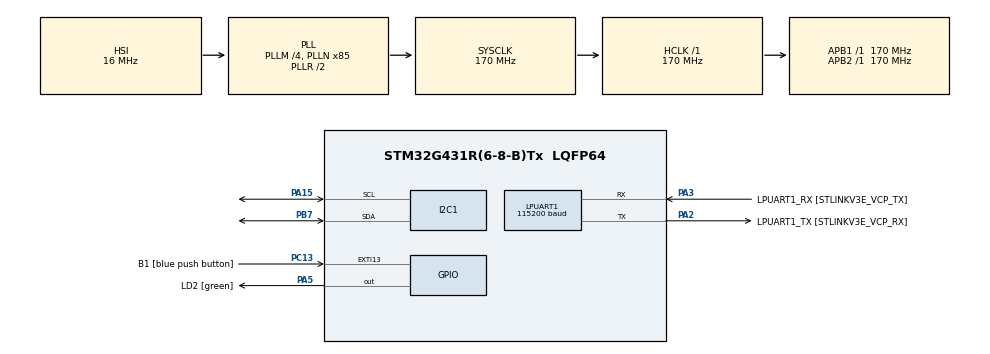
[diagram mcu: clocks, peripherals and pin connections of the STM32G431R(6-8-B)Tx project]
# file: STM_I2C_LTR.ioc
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I2C1.I2C_Fall_Time=300
I2C1.I2C_Rise_Time=300
I2C1.Timing=0x50F76F96
LPUART1.BaudRate=115200
LPUART1.WordLength=UART_WORDLENGTH_8B
Mcu.Family=STM32G4
Mcu.Name=STM32G431R(6-8-B)Tx
Mcu.Package=LQFP64
NVIC.PriorityGroup=NVIC_PRIORITYGROUP_4
PA15.Mode=I2C
PA15.Signal=I2C1_SCL
PA2.GPIO_Label=LPUART1_TX [STLINKV3E_VCP_RX]
PA2.Mode=Asynchronous
PA2.Signal=LPUART1_TX
PA3.GPIO_Label=LPUART1_RX [STLINKV3E_VCP_TX]
PA3.Mode=Asynchronous
PA3.Signal=LPUART1_RX
PA5.GPIO_Label=LD2 [green]
PA5.Signal=GPIO_Output
PB3.GPIO_Label=T_SWO
PB3.Signal=SYS_JTDO-SWO
PB7.Mode=I2C
PB7.Signal=I2C1_SDA
PC13.GPIO_Label=B1 [blue push button]
PC13.Signal=GPXTI13
PC14-OSC32_IN.Mode=LSE-External-Oscillator
PC14-OSC32_IN.Signal=RCC_OSC32_IN
PC15-OSC32_OUT.Mode=LSE-External-Oscillator
PC15-OSC32_OUT.Signal=RCC_OSC32_OUT
PF0-OSC_IN.Mode=HSE-External-Oscillator
PF0-OSC_IN.Signal=RCC_OSC_IN
PF1-OSC_OUT.Mode=HSE-External-Oscillator
PF1-OSC_OUT.Signal=RCC_OSC_OUT
ProjectManager.HeapSize=0x200
ProjectManager.StackSize=0x400
ProjectManager.TargetToolchain=MDK-ARM V5.27
RCC.ADC12Freq_Value=170000000
RCC.AHBFreq_Value=170000000
RCC.APB1Freq_Value=170000000
RCC.APB1TimFreq_Value=170000000
RCC.APB2Freq_Value=170000000
RCC.APB2TimFreq_Value=170000000
RCC.CortexFreq_Value=170000000
RCC.EXTERNAL_CLOCK_VALUE=12288000
RCC.HCLKFreq_Value=170000000
RCC.HSE_VALUE=24000000
RCC.HSI48_VALUE=48000000
RCC.HSI_VALUE=16000000
RCC.PLLM=RCC_PLLM_DIV4
RCC.PLLN=85
RCC.RTCClockSelection=RCC_RTCCLKSOURCE_LSE
RCC.SYSCLKFreq_VALUE=170000000
RCC.SYSCLKSource=RCC_SYSCLKSOURCE_PLLCLK
RCC.USBFreq_Value=170000000
RCC.VCOOutputFreq_Value=340000000
VP_RTC_VS_RTC_Activate.Mode=RTC_Enabled
VP_SYS_VS_DBSignals.Mode=DisableDeadBatterySignals
board=NUCLEO-G431RB

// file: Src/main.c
/* USER CODE BEGIN Header */
/**
  ******************************************************************************
  * @file           : main.c
  * @brief          : Main program body
  ******************************************************************************
  * @attention
  *
  * <h2><center>&copy; Copyright (c) 2020 STMicroelectronics.
  * All rights reserved.</center></h2>
  *
  * This software component is licensed by ST under BSD 3-Clause license,
  * the "License"; You may not use this file except in compliance with the
  * License. You may obtain a copy of the License at:
  *                        opensource.org/licenses/BSD-3-Clause
  *
  ******************************************************************************
  */
/* USER CODE END Header */
#include "main.h"
#include "i2c.h"
#include "usart.h"
#include "rtc.h"
#include "gpio.h"

/* USER CODE BEGIN Includes */
#include <stdarg.h>
#include <string.h>
/* USER CODE END Includes */

/* USER CODE BEGIN PD */
#define WriteAddr		0x52
#define ReadAddr		0x53

#define ALS_CONTR 			0x80
#define ALS_MEAS_RATE		0x85
#define PART_ID 				0x86
#define MANUFAC_ID			0x87
#define ALS_DATA_CH1_0 	0x88
#define ALS_DATA_CH1_1	0x89
#define ALS_DATA_CH0_0 	0x8A
#define ALS_DATA_CH0_1	0x8B
#define ALS_STATUS 			0x8C

/* USER CODE END PD */

void SystemClock_Config(void);

/* USER CODE BEGIN 0 */
void vprint(const char *fmt,va_list argp){
	char string[200];
	if(0<vsprintf(string,fmt,argp)){

		HAL_UART_Transmit(&hlpuart1,(uint8_t*)string,strlen(string),0xFFFFFF);

	}
}
void debug_printf(const char *fmt, ...){
	va_list argp;
	va_start(argp,fmt);
	vprint(fmt,argp);
	va_end(argp);

}
/* USER CODE END 0 */

int main(void)
{
  /* USER CODE BEGIN 1 */
	uint8_t Wbuffer[6]={0},Rbuffer[6]={0},Part_ID,Manuf_ID,Gain,Int_Time;
	uint16_t Ch1_data,Ch0_data;
	float ratio,Lux_value,Int_Factor;
  /* USER CODE END 1 */

  /* MCU Configuration--------------------------------------------------------*/

  /* Reset of all peripherals, Initializes the Flash interface and the Systick. */
  HAL_Init();

  /* Configure the system clock */
  SystemClock_Config();

  /* Initialize all configured peripherals */
  MX_GPIO_Init();
  MX_LPUART1_UART_Init();
  MX_I2C1_Init();
  MX_RTC_Init();
  /* USER CODE BEGIN 2 */

		if(HAL_I2C_IsDeviceReady(&hi2c1,0x52,5,100)==HAL_OK){			//check if sensor is responding back
		HAL_GPIO_WritePin(LD2_GPIO_Port,LD2_Pin,GPIO_PIN_SET);
		HAL_Delay(500);
			HAL_GPIO_WritePin(LD2_GPIO_Port,LD2_Pin,GPIO_PIN_RESET);
		HAL_Delay(500);
			HAL_GPIO_WritePin(LD2_GPIO_Port,LD2_Pin,GPIO_PIN_SET);
		HAL_Delay(500);
			HAL_GPIO_WritePin(LD2_GPIO_Port,LD2_Pin,GPIO_PIN_RESET);
		}

		HAL_Delay(100);							//startup time of 100ms
		Wbuffer[0]=ALS_CONTR;
		Wbuffer[1]=0x09;  //00000001		//0000 1001

		//HAL_I2C_Mem_Write(&hi2c1,WriteAddr,ALS_CONTR,1,&Wbuffer[1],1,100);

		HAL_I2C_Master_Transmit(&hi2c1,WriteAddr,Wbuffer,2,100);		//Set the sensor to active mode
		memset(Wbuffer,0,6);

		HAL_Delay(10);						//Wakeup time form standby mode

		Wbuffer[0]=ALS_CONTR;

		//HAL_I2C_Mem_Read(&hi2c1,ReadAddr,ALS_CONTR,1,Rbuffer,1,100);

		HAL_I2C_Master_Transmit(&hi2c1,WriteAddr,Wbuffer,1,100);		//Read the gain value
		HAL_I2C_Master_Receive(&hi2c1,ReadAddr,Rbuffer,1,100);

		Gain = (Rbuffer[0]>>2)&0x07; // 00000111	00000100  :  00000011 :00000011
		//0010100 >>2		00100101 00000111		00000101
		switch(Gain)
		{
			case 0: Gain = 1;  break;
			case 1: Gain = 2;  break;
			case 2: Gain = 4;  break;
			case 3: Gain = 8;  break;
			case 6: Gain = 48;  break;
			case 7: Gain = 96;  break;
		}
		debug_printf("\n\rGain:%d",Gain);

		memset(Wbuffer,0,6);
		memset(Rbuffer,0,6);

		Wbuffer[0] = PART_ID;
		HAL_I2C_Master_Transmit(&hi2c1,WriteAddr,Wbuffer,1,100);		//Read the part ID
		HAL_I2C_Master_Receive(&hi2c1,ReadAddr,Rbuffer,1,100);

		Part_ID = (Rbuffer[0]>>4)&0x0F;
		debug_printf("\n\rPart_ID:%d",Part_ID);

		memset(Wbuffer,0,6);
		memset(Rbuffer,0,6);

		Wbuffer[0] = MANUFAC_ID;
		HAL_I2C_Master_Transmit(&hi2c1,WriteAddr,Wbuffer,1,100);		//Read the manufacture ID
		HAL_I2C_Master_Receive(&hi2c1,ReadAddr,Rbuffer,1,100);

		Manuf_ID = Rbuffer[0];
		debug_printf("\n\rManuf_ID:%d",Manuf_ID);

		memset(Wbuffer,0,6);
		memset(Rbuffer,0,6);

		Wbuffer[0]=ALS_MEAS_RATE;
		HAL_I2C_Master_Transmit(&hi2c1,WriteAddr,Wbuffer,1,100);		//Read the integration time
		HAL_I2C_Master_Receive(&hi2c1,ReadAddr,Rbuffer,1,100);

		Int_Time = (Rbuffer[0]>>3)&0x07;
		switch(Int_Time)
		{
			case 0: Int_Factor = 1;  break;
			case 1: Int_Factor = 0.5;  break;
			case 2: Int_Factor = 2;  break;
			case 3: Int_Factor = 4;  break;
			case 4: Int_Factor = 1.5;  break;
			case 5: Int_Factor = 2.5;  break;
			case 6: Int_Factor = 3;  break;
			case 7: Int_Factor = 3.5;  break;
		}
		debug_printf("\n\rInt_Factor:%f",Int_Factor);

		memset(Wbuffer,0,6);
		memset(Rbuffer,0,6);

  /* USER CODE END 2 */

  /* Infinite loop */
  /* USER CODE BEGIN WHILE */
  while (1)
  {

		Wbuffer[0]=ALS_DATA_CH1_0;
		HAL_I2C_Master_Transmit(&hi2c1,0x52,Wbuffer,1,100);			//Read Data_Reg
		HAL_I2C_Master_Receive(&hi2c1,0x53,&Rbuffer[0],4,100);

		Ch1_data = (Rbuffer[1]<<8)+(Rbuffer[0]);
		Ch0_data = (Rbuffer[3]<<8)+(Rbuffer[2]);

		ratio = Ch1_data/(Ch1_data+Ch0_data);
		//conversion of raw data to lux values as giver in Appendix A of LTR-329ALS-01
		if(ratio<0.45)
			Lux_value = ((1.7743*Ch0_data)+(1.1059*Ch1_data))/Gain/Int_Factor;
		else if(ratio<0.64&&ratio>=0.45)
			Lux_value = ((4.2785*Ch0_data)-(1.9548*Ch1_data))/Gain/Int_Factor;
		else if(ratio<0.85&&ratio>=0.64)
			Lux_value = ((0.5926*Ch0_data)+(0.1185*Ch1_data))/Gain/Int_Factor;
		 else
			Lux_value = 0;

		debug_printf("\n\rLux Value(in LUX):%f",Lux_value);

		HAL_Delay(2000);		//Delay of 2 seconds between 2 measurements

    /* USER CODE END WHILE */

  }
}

void SystemClock_Config(void)
{
  RCC_OscInitTypeDef RCC_OscInitStruct = {0};
  RCC_ClkInitTypeDef RCC_ClkInitStruct = {0};
  RCC_PeriphCLKInitTypeDef PeriphClkInit = {0};

  /** Configure the main internal regulator output voltage
  */
  HAL_PWREx_ControlVoltageScaling(PWR_REGULATOR_VOLTAGE_SCALE1_BOOST);
  /** Configure LSE Drive Capability
  */
  HAL_PWR_EnableBkUpAccess();
  __HAL_RCC_LSEDRIVE_CONFIG(RCC_LSEDRIVE_LOW);
  /** Initializes the RCC Oscillators according to the specified parameters
  * in the RCC_OscInitTypeDef structure.
  */
  RCC_OscInitStruct.OscillatorType = RCC_OSCILLATORTYPE_HSI|RCC_OSCILLATORTYPE_LSE;
  RCC_OscInitStruct.LSEState = RCC_LSE_ON;
  RCC_OscInitStruct.HSIState = RCC_HSI_ON;
  RCC_OscInitStruct.HSICalibrationValue = RCC_HSICALIBRATION_DEFAULT;
  RCC_OscInitStruct.PLL.PLLState = RCC_PLL_ON;
  RCC_OscInitStruct.PLL.PLLSource = RCC_PLLSOURCE_HSI;
  RCC_OscInitStruct.PLL.PLLM = RCC_PLLM_DIV4;
  RCC_OscInitStruct.PLL.PLLN = 85;
  RCC_OscInitStruct.PLL.PLLP = RCC_PLLP_DIV2;
  RCC_OscInitStruct.PLL.PLLQ = RCC_PLLQ_DIV2;
  RCC_OscInitStruct.PLL.PLLR = RCC_PLLR_DIV2;
  if (HAL_RCC_OscConfig(&RCC_OscInitStruct) != HAL_OK)
  {
    Error_Handler();
  }
  /** Initializes the CPU, AHB and APB buses clocks
  */
  RCC_ClkInitStruct.ClockType = RCC_CLOCKTYPE_HCLK|RCC_CLOCKTYPE_SYSCLK
                              |RCC_CLOCKTYPE_PCLK1|RCC_CLOCKTYPE_PCLK2;
  RCC_ClkInitStruct.SYSCLKSource = RCC_SYSCLKSOURCE_PLLCLK;
  RCC_ClkInitStruct.AHBCLKDivider = RCC_SYSCLK_DIV1;
  RCC_ClkInitStruct.APB1CLKDivider = RCC_HCLK_DIV1;
  RCC_ClkInitStruct.APB2CLKDivider = RCC_HCLK_DIV1;

  if (HAL_RCC_ClockConfig(&RCC_ClkInitStruct, FLASH_LATENCY_4) != HAL_OK)
  {
    Error_Handler();
  }
  /** Initializes the peripherals clocks
  */
  PeriphClkInit.PeriphClockSelection = RCC_PERIPHCLK_RTC|RCC_PERIPHCLK_LPUART1
                              |RCC_PERIPHCLK_I2C1;
  PeriphClkInit.Lpuart1ClockSelection = RCC_LPUART1CLKSOURCE_PCLK1;
  PeriphClkInit.I2c1ClockSelection = RCC_I2C1CLKSOURCE_PCLK1;
  PeriphClkInit.RTCClockSelection = RCC_RTCCLKSOURCE_LSE;

  if (HAL_RCCEx_PeriphCLKConfig(&PeriphClkInit) != HAL_OK)
  {
    Error_Handler();
  }
}

void Error_Handler(void)
{
}

/************************ (C) COPYRIGHT STMicroelectronics *****END OF FILE****/
